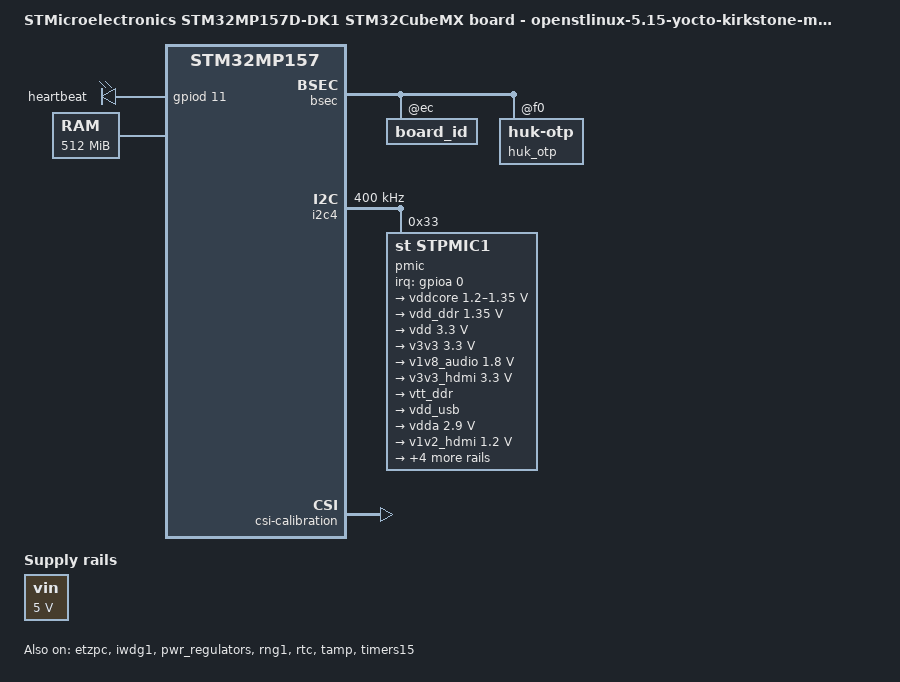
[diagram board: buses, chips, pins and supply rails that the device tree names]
/dts-v1/;
#include <dt-bindings/pinctrl/stm32-pinfunc.h>
#include <dt-bindings/clock/stm32mp1-clksrc.h>
#include <dt-bindings/soc/stm32mp15-etzpc.h>
#include "stm32mp157.dtsi"
#include "stm32mp15xd.dtsi"
#include "stm32mp15xxac-pinctrl.dtsi"

/* USER CODE BEGIN includes */
#include <dt-bindings/gpio/stm32mp_gpio.h>
#include <dt-bindings/power/stm32mp1-power.h>
#include <dt-bindings/mfd/st,stpmic1.h>
/* USER CODE END includes */

/{
	model = "STMicroelectronics STM32MP157D-DK1 STM32CubeMX board - openstlinux-5.15-yocto-kirkstone-mp1-v22.11.23";
	compatible = "st,stm32mp157d-board_157d-dk1-mx", "st,stm32mp157d-dk1", "st,stm32mp157";

	/* USER CODE BEGIN root */

	aliases{
		serial0 = &uart4;
		serial1 = &usart3;
		serial2 = &uart7;
	};

	led{
		compatible = "gpio-leds";

		led-blue{
			label = "heartbeat";
			gpios = <&gpiod 11 GPIO_ACTIVE_HIGH>;
			linux,default-trigger = "heartbeat";
			default-state = "off";
		};
	};

	vin:vin{
		compatible = "regulator-fixed";
		regulator-name = "vin";
		regulator-min-microvolt = <5000000>;
		regulator-max-microvolt = <5000000>;
		regulator-always-on;
	};

	chosen{
		stdout-path = "serial0:115200n8";
	};
	/* USER CODE END root */

	memory@c0000000{
		device_type = "memory";
		reg = <0xc0000000 0x20000000>;
	};

	reserved-memory{
		#address-cells = <1>;
		#size-cells = <1>;
		ranges;

		/* USER CODE BEGIN reserved-memory */

		mcuram2:mcuram2@10000000{
			compatible = "shared-dma-pool";
			reg = <0x10000000 0x40000>;
			no-map;
		};

		vdev0vring0:vdev0vring0@10040000{
			compatible = "shared-dma-pool";
			reg = <0x10040000 0x1000>;
			no-map;
		};

		vdev0vring1:vdev0vring1@10041000{
			compatible = "shared-dma-pool";
			reg = <0x10041000 0x1000>;
			no-map;
		};

		vdev0buffer:vdev0buffer@10042000{
			compatible = "shared-dma-pool";
			reg = <0x10042000 0x4000>;
			no-map;
		};

		mcuram:mcuram@30000000{
			compatible = "shared-dma-pool";
			reg = <0x30000000 0x40000>;
			no-map;
		};

		retram:retram@38000000{
			compatible = "shared-dma-pool";
			reg = <0x38000000 0x10000>;
			no-map;
		};

		gpu_reserved:gpu@d4000000{
			reg = <0xd4000000 0x4000000>;
			no-map;
		};
		/* USER CODE END reserved-memory */
	};

	clocks{

		clk_hsi:clk-hsi{
			clock-frequency = <64000000>;
		};

		clk_lse:clk-lse{
			clock-frequency = <32768>;
			st,drive = < LSEDRV_MEDIUM_HIGH >;
		};

		clk_hse:clk-hse{
			clock-frequency = <24000000>;
			st,digbypass;
		};
	};
};

&pinctrl{
	/* USER CODE BEGIN pinctrl */
	/* USER CODE END pinctrl */
};

&pinctrl_z{

	i2c4_pins_z_mx:i2c4_mx-0{

		pins{
			pinmux = <STM32_PINMUX('Z', 4, AF6)>,
					<STM32_PINMUX('Z', 5, AF6)>;
			bias-disable;
			drive-open-drain;
			slew-rate = <0>;
		};
	};
};

&bsec{
	status = "okay";

	/* USER CODE BEGIN bsec */

	board_id:board_id@ec{
		reg = <0xec 0x4>;
		st,non-secure-otp;
	};

	huk_otp:huk-otp@f0{
		reg = <0xf0 0x10>;
	};
	/* USER CODE END bsec */
};

&etzpc{
	status = "okay";
	st,decprot = <
	
	DECPROT(STM32MP1_ETZPC_ADC_ID, DECPROT_NS_RW, DECPROT_UNLOCK)
	DECPROT(STM32MP1_ETZPC_DMA1_ID, DECPROT_NS_RW, DECPROT_UNLOCK)
	DECPROT(STM32MP1_ETZPC_DMA2_ID, DECPROT_NS_RW, DECPROT_UNLOCK)
	DECPROT(STM32MP1_ETZPC_DMAMUX_ID, DECPROT_NS_RW, DECPROT_UNLOCK)
	DECPROT(STM32MP1_ETZPC_ETH_ID, DECPROT_NS_RW, DECPROT_UNLOCK)
	DECPROT(STM32MP1_ETZPC_HASH1_ID, DECPROT_NS_RW, DECPROT_UNLOCK)
	DECPROT(STM32MP1_ETZPC_CEC_ID, DECPROT_NS_RW, DECPROT_UNLOCK)
	DECPROT(STM32MP1_ETZPC_I2C1_ID, DECPROT_NS_RW, DECPROT_UNLOCK)
	DECPROT(STM32MP1_ETZPC_I2C4_ID, DECPROT_NS_RW, DECPROT_UNLOCK)
	DECPROT(STM32MP1_ETZPC_SPI2_ID, DECPROT_NS_RW, DECPROT_UNLOCK)
	DECPROT(STM32MP1_ETZPC_SAI2_ID, DECPROT_NS_RW, DECPROT_UNLOCK)
	DECPROT(STM32MP1_ETZPC_UART4_ID, DECPROT_NS_RW, DECPROT_UNLOCK)
	DECPROT(STM32MP1_ETZPC_OTG_ID, DECPROT_NS_RW, DECPROT_UNLOCK)
	DECPROT(STM32MP1_ETZPC_VREFBUF_ID, DECPROT_NS_RW, DECPROT_UNLOCK)
	
	DECPROT(STM32MP1_ETZPC_DDRCTRL_ID, DECPROT_NS_R_S_W, DECPROT_LOCK)
	DECPROT(STM32MP1_ETZPC_DDRPHYC_ID, DECPROT_NS_R_S_W, DECPROT_LOCK)
	
	DECPROT(STM32MP1_ETZPC_IWDG1_ID, DECPROT_S_RW, DECPROT_UNLOCK)
	DECPROT(STM32MP1_ETZPC_RNG1_ID, DECPROT_S_RW, DECPROT_UNLOCK)
	DECPROT(STM32MP1_ETZPC_STGENC_ID, DECPROT_S_RW, DECPROT_UNLOCK)

	

	
	
	>;
};

&i2c4{
	pinctrl-names = "default";
	pinctrl-0 = <&i2c4_pins_z_mx>;
	status = "okay";

	/* USER CODE BEGIN i2c4 */
	compatible = "st,stm32mp15-i2c-non-secure";
	i2c-scl-rising-time-ns = <185>;
	i2c-scl-falling-time-ns = <20>;
	clock-frequency = <400000>;
	/delete-property/ dmas;
	/delete-property/ dma-names;

	pmic:stpmic@33{
		compatible = "st,stpmic1";
		reg = <0x33>;
		interrupts-extended = <&gpioa 0 IRQ_TYPE_EDGE_FALLING>;
		interrupt-controller;
		#interrupt-cells = <2>;
		status = "okay";

		regulators{
			compatible = "st,stpmic1-regulators";
			buck1-supply = <&vin>;
			buck2-supply = <&vin>;
			buck3-supply = <&vin>;
			buck4-supply = <&vin>;
			ldo1-supply = <&v3v3>;
			ldo2-supply = <&vin>;
			ldo3-supply = <&vdd_ddr>;
			ldo4-supply = <&vin>;
			ldo5-supply = <&vin>;
			ldo6-supply = <&v3v3>;
			vref_ddr-supply = <&vin>;
			boost-supply = <&vin>;
			pwr_sw1-supply = <&bst_out>;
			pwr_sw2-supply = <&bst_out>;

			vddcore:buck1{
				regulator-name = "vddcore";
				regulator-min-microvolt = <1200000>;
				regulator-max-microvolt = <1350000>;
				regulator-always-on;
				regulator-initial-mode = <0>;
				regulator-over-current-protection;

				lp-stop{
					regulator-on-in-suspend;
					regulator-suspend-microvolt = <1200000>;
				};

				standby-ddr-sr{
					regulator-off-in-suspend;
				};

				standby-ddr-off{
					regulator-off-in-suspend;
				};
			};

			vdd_ddr:buck2{
				regulator-name = "vdd_ddr";
				regulator-min-microvolt = <1350000>;
				regulator-max-microvolt = <1350000>;
				regulator-always-on;
				regulator-initial-mode = <0>;
				regulator-over-current-protection;

				lp-stop{
					regulator-suspend-microvolt = <1350000>;
					regulator-on-in-suspend;
				};

				standby-ddr-sr{
					regulator-suspend-microvolt = <1350000>;
					regulator-on-in-suspend;
				};

				standby-ddr-off{
					regulator-off-in-suspend;
				};
			};

			vdd:buck3{
				regulator-name = "vdd";
				regulator-min-microvolt = <3300000>;
				regulator-max-microvolt = <3300000>;
				regulator-always-on;
				st,mask-reset;
				regulator-initial-mode = <0>;
				regulator-over-current-protection;

				lp-stop{
					regulator-suspend-microvolt = <3300000>;
					regulator-on-in-suspend;
				};

				standby-ddr-sr{
					regulator-suspend-microvolt = <3300000>;
					regulator-on-in-suspend;
				};

				standby-ddr-off{
					regulator-suspend-microvolt = <3300000>;
					regulator-on-in-suspend;
				};
			};

			v3v3:buck4{
				regulator-name = "v3v3";
				regulator-min-microvolt = <3300000>;
				regulator-max-microvolt = <3300000>;
				regulator-always-on;
				regulator-over-current-protection;
				regulator-initial-mode = <0>;

				lp-stop{
					regulator-suspend-microvolt = <3300000>;
					regulator-on-in-suspend;
				};

				standby-ddr-sr{
					regulator-off-in-suspend;
				};

				standby-ddr-off{
					regulator-off-in-suspend;
				};
			};

			v1v8_audio:ldo1{
				regulator-name = "v1v8_audio";
				regulator-min-microvolt = <1800000>;
				regulator-max-microvolt = <1800000>;
				regulator-always-on;
				interrupts = <IT_CURLIM_LDO1 0>;

				standby-ddr-sr{
					regulator-off-in-suspend;
				};

				standby-ddr-off{
					regulator-off-in-suspend;
				};
			};

			v3v3_hdmi:ldo2{
				regulator-name = "v3v3_hdmi";
				regulator-min-microvolt = <3300000>;
				regulator-max-microvolt = <3300000>;
				regulator-always-on;
				interrupts = <IT_CURLIM_LDO2 0>;

				standby-ddr-sr{
					regulator-off-in-suspend;
				};

				standby-ddr-off{
					regulator-off-in-suspend;
				};
			};

			vtt_ddr:ldo3{
				regulator-name = "vtt_ddr";
				regulator-always-on;
				regulator-over-current-protection;
				st,regulator-sink-source;

				lp-stop{
					regulator-off-in-suspend;
				};

				standby-ddr-sr{
					regulator-off-in-suspend;
				};

				standby-ddr-off{
					regulator-off-in-suspend;
				};
			};

			vdd_usb:ldo4{
				regulator-name = "vdd_usb";
				interrupts = <IT_CURLIM_LDO4 0>;

				standby-ddr-sr{
					regulator-off-in-suspend;
				};

				standby-ddr-off{
					regulator-off-in-suspend;
				};
			};

			vdda:ldo5{
				regulator-name = "vdda";
				regulator-min-microvolt = <2900000>;
				regulator-max-microvolt = <2900000>;
				interrupts = <IT_CURLIM_LDO5 0>;
				regulator-boot-on;

				standby-ddr-sr{
					regulator-off-in-suspend;
				};

				standby-ddr-off{
					regulator-off-in-suspend;
				};
			};

			v1v2_hdmi:ldo6{
				regulator-name = "v1v2_hdmi";
				regulator-min-microvolt = <1200000>;
				regulator-max-microvolt = <1200000>;
				regulator-always-on;
				interrupts = <IT_CURLIM_LDO6 0>;

				standby-ddr-sr{
					regulator-off-in-suspend;
				};

				standby-ddr-off{
					regulator-off-in-suspend;
				};
			};

			vref_ddr:vref_ddr{
				regulator-name = "vref_ddr";
				regulator-always-on;

				lp-stop{
					regulator-on-in-suspend;
				};

				standby-ddr-sr{
					regulator-on-in-suspend;
				};

				standby-ddr-off{
					regulator-off-in-suspend;
				};
			};

			bst_out:boost{
				regulator-name = "bst_out";
				interrupts = <IT_OCP_BOOST 0>;
			};

			vbus_otg:pwr_sw1{
				regulator-name = "vbus_otg";
				interrupts = <IT_OCP_OTG 0>;
			};

			vbus_sw:pwr_sw2{
				regulator-name = "vbus_sw";
				interrupts = <IT_OCP_SWOUT 0>;
				regulator-active-discharge = <1>;
			};
		};
	};
	/* USER CODE END i2c4 */
};

&iwdg1{
	status = "okay";

	/* USER CODE BEGIN iwdg1 */
	timeout-sec = <32>;
	/* USER CODE END iwdg1 */
};

&pwr_regulators{
	status = "okay";

	/* USER CODE BEGIN pwr_regulators */
	system_suspend_supported_soc_modes = <
		STM32_PM_CSLEEP_RUN
		STM32_PM_CSTOP_ALLOW_LP_STOP
		STM32_PM_CSTOP_ALLOW_STANDBY_DDR_SR
	>;
	system_off_soc_mode = <STM32_PM_CSTOP_ALLOW_STANDBY_DDR_OFF>;
	vdd-supply = <&vdd>;
	vdd_3v3_usbfs-supply = <&vdd_usb>;
	/* USER CODE END pwr_regulators */
};

&rcc{
	status = "okay";
	clocks = <&clk_hse>, <&clk_hsi>, <&clk_lse>, <&clk_lsi>, <&clk_csi>;
	clock-names = "clk-hse", "clk-hsi", "clk-lse", "clk-lsi", "clk-csi";
	st,clksrc = <
		CLK_CKPER_HSE
		CLK_ETH_PLL4P
		CLK_SDMMC12_PLL4P
		CLK_STGEN_HSE
		CLK_SPI2S23_PLL3Q
		CLK_I2C46_HSI
		CLK_USBO_USBPHY
		CLK_ADC_CKPER
		CLK_CEC_LSE
		CLK_I2C12_HSI
		CLK_UART24_HSI
		CLK_SAI2_PLL3Q
		CLK_RNG1_CSI
		CLK_MPU_PLL1P
		CLK_AXI_PLL2P
		CLK_MCU_PLL3P
		CLK_RTC_LSE
		CLK_MCO1_DISABLED
		CLK_MCO2_DISABLED
	>;
	st,clkdiv = <
		DIV(DIV_MPU, 1)
		DIV(DIV_AXI, 0)
		DIV(DIV_MCU, 0)
		DIV(DIV_APB1, 1)
		DIV(DIV_APB2, 1)
		DIV(DIV_APB3, 1)
		DIV(DIV_APB4, 1)
		DIV(DIV_APB5, 2)
		DIV(DIV_RTC, 23)
		DIV(DIV_MCO1, 0)
		DIV(DIV_MCO2, 0)
	>;

	st,pll_vco{

		/* USER CODE BEGIN rcc_st-pll_vco */

		pll4_vco_600Mhz:pll2-vco-600Mhz{
			src = <CLK_PLL4_HSE>;
			divmn = <3 98>;
		};
		/* USER CODE END rcc_st-pll_vco */

		pll2_vco_1066Mhz:pll2-vco-1066Mhz{
			src = < CLK_PLL12_HSE >;
			divmn = < 2 65 >;
			frac = < 0x1400 >;
		};

		pll3_vco_417Mhz:pll3-vco-417Mhz{
			src = < CLK_PLL3_HSE >;
			divmn = < 1 33 >;
			frac = < 0x1a04 >;
		};

		pll4_vco_594Mhz:pll4-vco-594Mhz{
			src = < CLK_PLL4_HSE >;
			divmn = < 3 98 >;
		};
	};

	pll2:st,pll@1{
		compatible = "st,stm32mp1-pll";
		reg = <1>;
		st,pll = < &pll2_cfg1 >;

		pll2_cfg1:pll2_cfg1{
			st,pll_vco = < &pll2_vco_1066Mhz >;
			st,pll_div_pqr = < 1 0 0 >;
		};
	};

	pll3:st,pll@2{
		compatible = "st,stm32mp1-pll";
		reg = <2>;
		st,pll = < &pll3_cfg1 >;

		pll3_cfg1:pll3_cfg1{
			st,pll_vco = < &pll3_vco_417Mhz >;
			st,pll_div_pqr = < 1 16 36 >;
		};
	};

	pll4:st,pll@3{
		compatible = "st,stm32mp1-pll";
		reg = <3>;
		st,pll = < &pll4_cfg1 >;

		pll4_cfg1:pll4_cfg1{
			st,pll_vco = < &pll4_vco_594Mhz >;
			st,pll_div_pqr = < 5 7 7 >;
		};
	};
};

&rng1{
	status = "okay";
};

&rtc{
	status = "okay";
};

&tamp{
	status = "okay";
};

/* USER CODE BEGIN addons */

&gpu{
	contiguous-area = <&gpu_reserved>;
};

&cpu0{
	cpu-supply = <&vddcore>;
};

&cpu1{
	cpu-supply = <&vddcore>;
};

&osc_calibration{

	csi-calibration{
		status = "okay";
	};

	hsi-calibration{
		status = "okay";
	};
};

&timers15{
	status = "okay";

	counter{
		status = "okay";
	};
};

&usbphyc_port0{
	phy-supply = <&vdd_usb>;
	st,tune-hs-dc-level = <2>;
	st,enable-fs-rftime-tuning;
	st,enable-hs-rftime-reduction;
	st,trim-hs-current = <15>;
	st,trim-hs-impedance = <1>;
	st,tune-squelch-level = <3>;
	st,tune-hs-rx-offset = <2>;
	st,no-lsfs-sc;
};

&usbphyc_port1{
	phy-supply = <&vdd_usb>;
	st,tune-hs-dc-level = <2>;
	st,enable-fs-rftime-tuning;
	st,enable-hs-rftime-reduction;
	st,trim-hs-current = <15>;
	st,trim-hs-impedance = <1>;
	st,tune-squelch-level = <3>;
	st,tune-hs-rx-offset = <2>;
	st,no-lsfs-sc;
};
/* USER CODE END addons */
